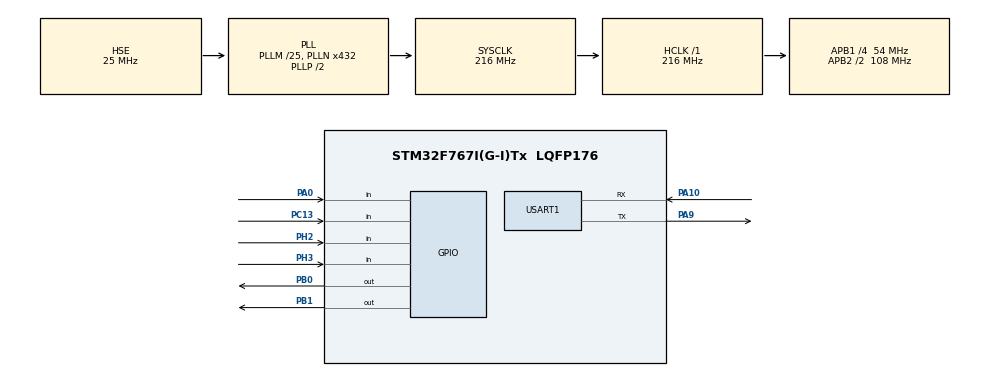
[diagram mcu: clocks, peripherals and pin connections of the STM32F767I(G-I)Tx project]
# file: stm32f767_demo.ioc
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CORTEX_M7.ART_ACCLERATOR_ENABLE=1
CORTEX_M7.CPU_DCache=Enabled
CORTEX_M7.CPU_ICache=Enabled
CORTEX_M7.PREFETCH_ENABLE=1
Mcu.Family=STM32F7
Mcu.Name=STM32F767I(G-I)Tx
Mcu.Package=LQFP176
NVIC.PriorityGroup=NVIC_PRIORITYGROUP_2
NVIC.USART1_IRQn=true\:3\:3\:true\:false\:true\:true
PA0/WKUP.GPIO_PuPd=GPIO_PULLDOWN
PA0/WKUP.Signal=GPIO_Input
PA10.GPIO_ModeDefaultPP=GPIO_MODE_AF_PP
PA10.GPIO_PuPd=GPIO_PULLUP
PA10.GPIO_Speed=GPIO_SPEED_FREQ_HIGH
PA10.Mode=Asynchronous
PA10.Signal=USART1_RX
PA9.GPIO_ModeDefaultPP=GPIO_MODE_AF_PP
PA9.GPIO_PuPd=GPIO_PULLUP
PA9.GPIO_Speed=GPIO_SPEED_FREQ_HIGH
PA9.Mode=Asynchronous
PA9.Signal=USART1_TX
PB0.GPIO_PuPd=GPIO_PULLUP
PB0.Signal=GPIO_Output
PB1.GPIO_PuPd=GPIO_PULLUP
PB1.GPIO_Speed=GPIO_SPEED_FREQ_LOW
PB1.Signal=GPIO_Output
PC13.GPIO_PuPd=GPIO_PULLUP
PC13.Signal=GPIO_Input
PH0/OSC_IN.Mode=HSE-External-Oscillator
PH0/OSC_IN.Signal=RCC_OSC_IN
PH1/OSC_OUT.Mode=HSE-External-Oscillator
PH1/OSC_OUT.Signal=RCC_OSC_OUT
PH2.GPIO_PuPd=GPIO_PULLUP
PH2.Signal=GPIO_Input
PH3.GPIO_PuPd=GPIO_PULLUP
PH3.Signal=GPIO_Input
ProjectManager.HeapSize=0x200
ProjectManager.StackSize=0x400
ProjectManager.TargetToolchain=Makefile
RCC.AHBFreq_Value=216000000
RCC.APB1CLKDivider=RCC_HCLK_DIV4
RCC.APB1Freq_Value=54000000
RCC.APB1TimFreq_Value=108000000
RCC.APB2CLKDivider=RCC_HCLK_DIV2
RCC.APB2Freq_Value=108000000
RCC.APB2TimFreq_Value=216000000
RCC.CortexFreq_Value=216000000
RCC.HCLKFreq_Value=216000000
RCC.HSE_VALUE=25000000
RCC.HSI_VALUE=16000000
RCC.LSE_VALUE=32768
RCC.PLLM=25
RCC.PLLN=432
RCC.PLLSourceVirtual=RCC_PLLSOURCE_HSE
RCC.SYSCLKFreq_VALUE=216000000
RCC.SYSCLKSource=RCC_SYSCLKSOURCE_PLLCLK
RCC.USBFreq_Value=216000000
RCC.VCOOutputFreq_Value=432000000
USART1.VirtualMode-Asynchronous=VM_ASYNC
USART1.WordLength=WORDLENGTH_8B
board=stm32f767_demo

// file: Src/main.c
/**
  ******************************************************************************
  * @file           : main.c
  * @brief          : Main program body
  ******************************************************************************
  ** This notice applies to any and all portions of this file
  * that are not between comment pairs USER CODE BEGIN and
  * USER CODE END. Other portions of this file, whether
  * inserted by the user or by software development tools
  * are owned by their respective copyright owners.
  *
  * COPYRIGHT(c) 2018 STMicroelectronics
  *
  * Redistribution and use in source and binary forms, with or without modification,
  * are permitted provided that the following conditions are met:
  *   1. Redistributions of source code must retain the above copyright notice,
  *      this list of conditions and the following disclaimer.
  *   2. Redistributions in binary form must reproduce the above copyright notice,
  *      this list of conditions and the following disclaimer in the documentation
  *      and/or other materials provided with the distribution.
  *   3. Neither the name of STMicroelectronics nor the names of its contributors
  *      may be used to endorse or promote products derived from this software
  *      without specific prior written permission.
  *
  * THIS SOFTWARE IS PROVIDED BY THE COPYRIGHT HOLDERS AND CONTRIBUTORS "AS IS"
  * AND ANY EXPRESS OR IMPLIED WARRANTIES, INCLUDING, BUT NOT LIMITED TO, THE
  * IMPLIED WARRANTIES OF MERCHANTABILITY AND FITNESS FOR A PARTICULAR PURPOSE ARE
  * DISCLAIMED. IN NO EVENT SHALL THE COPYRIGHT HOLDER OR CONTRIBUTORS BE LIABLE
  * FOR ANY DIRECT, INDIRECT, INCIDENTAL, SPECIAL, EXEMPLARY, OR CONSEQUENTIAL
  * DAMAGES (INCLUDING, BUT NOT LIMITED TO, PROCUREMENT OF SUBSTITUTE GOODS OR
  * SERVICES; LOSS OF USE, DATA, OR PROFITS; OR BUSINESS INTERRUPTION) HOWEVER
  * CAUSED AND ON ANY THEORY OF LIABILITY, WHETHER IN CONTRACT, STRICT LIABILITY,
  * OR TORT (INCLUDING NEGLIGENCE OR OTHERWISE) ARISING IN ANY WAY OUT OF THE USE
  * OF THIS SOFTWARE, EVEN IF ADVISED OF THE POSSIBILITY OF SUCH DAMAGE.
  *
  ******************************************************************************
  */
#include "main.h"
#include "stm32f7xx_hal.h"

/* USER CODE BEGIN Includes */
#include <led.h>
#include <key.h>
#include <uart.h>

/* USER CODE END Includes */

UART_HandleTypeDef huart1;

/* USER CODE BEGIN PV */
/* Private variables ---------------------------------------------------------*/

//接收缓存初始化
#define MAX_RECV_LEN 1024
uint8_t msg_buff[MAX_RECV_LEN] = {0};
uint8_t *msg = msg_buff;
static int flag = 0;

/* USER CODE END PV */

void SystemClock_Config(void);
static void MX_GPIO_Init(void);
static void MX_USART1_UART_Init(void);

/* USER CODE BEGIN PFP */
/* Private function prototypes -----------------------------------------------*/

//重定义fputc函数到串口
int fputc(int ch, FILE *f)
{
    while ((USART1->ISR & 0X40) == 0)
        ; //循环发送,直到发送完毕
    USART1->TDR = (uint8_t)ch;
    return ch;
}

// 接收中断回调函数
void HAL_UART_RxCpltCallback(UART_HandleTypeDef *UartHandle)
{
    uint8_t ret = HAL_OK;
    msg++;
    if (msg == msg_buff + MAX_RECV_LEN)
    {
        msg = msg_buff;
    }
    do
    {
        ret = HAL_UART_Receive_IT(UartHandle, (uint8_t *)msg, 1);
    } while (ret != HAL_OK);

    if (*(msg - 1) == '\n') //接收以\n为结尾字符，则表示接收完成
    {
        flag = 0;
    }
}

/* USER CODE END PFP */

int main(void)
{

    /* Enable I-Cache-------------------------------------------------------------*/
    SCB_EnableICache();

    /* Enable D-Cache-------------------------------------------------------------*/
    SCB_EnableDCache();

    /* MCU Configuration----------------------------------------------------------*/

    /* Reset of all peripherals, Initializes the Flash interface and the Systick. */
    HAL_Init();

    /* Configure the system clock */
    SystemClock_Config();

    /* Initialize all configured peripherals */
    MX_GPIO_Init();
    MX_USART1_UART_Init();
    /* USER CODE BEGIN 2 */
    HAL_UART_Receive_IT(&huart1, (uint8_t *)msg, 1); //开启第一次中断

    /* USER CODE END 2 */

    /* Infinite loop */
    /* USER CODE BEGIN WHILE */
    uint8_t led0Status = 1, led1Status = 1;
    KeyStatus keyStatus;
    while (1)
    {
        keyStatus = KEY_scan();

        if (keyStatus != NO_KEY_PRESS)
        {
            switch (keyStatus)
            {
            case KEY0_PRESS:
                led0Status = !led0Status;
                break;
            case KEY1_PRESS:
                led1Status = !led1Status;
                break;
            case KEY2_PRESS:
                led0Status = !led0Status;
                led1Status = !led1Status;
                break;
            case WK_UP_PRESS: // 互斥点亮
                led0Status = !led0Status;
                led1Status = !led0Status;
                break;
            case NO_KEY_PRESS:
                break;
            }
            LED0(led0Status);
            LED1(led1Status);
        }

        /* HAL_Delay(100);

        uint8_t TxData[10] = "01234abcde";
        // HAL_UART_Transmit(&huart1, TxData, 10, 0xffff); //把TxData的内容通过uart1发送出去，长度是10，timeout的时间是最大值0xffff
        printf("%s\n", "abcdef");

        while (__HAL_UART_GET_FLAG(&huart1, UART_FLAG_TC) != SET)
            ; //等待发送结束 */

        if (flag == 1)
        {
            printf("msg_buff = %s\r\n", msg_buff);
            memset((void *)msg_buff, 0, sizeof(msg_buff)); //清空缓存区
            // 指向接收缓存的头部
            msg = msg_buff;
            (&huart1)->pRxBuffPtr = msg;
            flag = 0;
        }
        HAL_Delay(10);

        /* USER CODE END WHILE */

    }
}

void SystemClock_Config(void)
{

    RCC_OscInitTypeDef RCC_OscInitStruct;
    RCC_ClkInitTypeDef RCC_ClkInitStruct;
    RCC_PeriphCLKInitTypeDef PeriphClkInitStruct;

    /**Configure the main internal regulator output voltage
    */
    __HAL_RCC_PWR_CLK_ENABLE();

    __HAL_PWR_VOLTAGESCALING_CONFIG(PWR_REGULATOR_VOLTAGE_SCALE1);

    /**Initializes the CPU, AHB and APB busses clocks
    */
    RCC_OscInitStruct.OscillatorType = RCC_OSCILLATORTYPE_HSE;
    RCC_OscInitStruct.HSEState = RCC_HSE_ON;
    RCC_OscInitStruct.PLL.PLLState = RCC_PLL_ON;
    RCC_OscInitStruct.PLL.PLLSource = RCC_PLLSOURCE_HSE;
    RCC_OscInitStruct.PLL.PLLM = 25;
    RCC_OscInitStruct.PLL.PLLN = 432;
    RCC_OscInitStruct.PLL.PLLP = RCC_PLLP_DIV2;
    RCC_OscInitStruct.PLL.PLLQ = 2;
    if (HAL_RCC_OscConfig(&RCC_OscInitStruct) != HAL_OK)
    {
        _Error_Handler(__FILE__, __LINE__);
    }

    /**Activate the Over-Drive mode
    */
    if (HAL_PWREx_EnableOverDrive() != HAL_OK)
    {
        _Error_Handler(__FILE__, __LINE__);
    }

    /**Initializes the CPU, AHB and APB busses clocks
    */
    RCC_ClkInitStruct.ClockType = RCC_CLOCKTYPE_HCLK | RCC_CLOCKTYPE_SYSCLK | RCC_CLOCKTYPE_PCLK1 | RCC_CLOCKTYPE_PCLK2;
    RCC_ClkInitStruct.SYSCLKSource = RCC_SYSCLKSOURCE_PLLCLK;
    RCC_ClkInitStruct.AHBCLKDivider = RCC_SYSCLK_DIV1;
    RCC_ClkInitStruct.APB1CLKDivider = RCC_HCLK_DIV4;
    RCC_ClkInitStruct.APB2CLKDivider = RCC_HCLK_DIV2;

    if (HAL_RCC_ClockConfig(&RCC_ClkInitStruct, FLASH_LATENCY_7) != HAL_OK)
    {
        _Error_Handler(__FILE__, __LINE__);
    }

    PeriphClkInitStruct.PeriphClockSelection = RCC_PERIPHCLK_USART1;
    PeriphClkInitStruct.Usart1ClockSelection = RCC_USART1CLKSOURCE_PCLK2;
    if (HAL_RCCEx_PeriphCLKConfig(&PeriphClkInitStruct) != HAL_OK)
    {
        _Error_Handler(__FILE__, __LINE__);
    }

    /**Configure the Systick interrupt time
    */
    HAL_SYSTICK_Config(HAL_RCC_GetHCLKFreq() / 1000);

    /**Configure the Systick
    */
    HAL_SYSTICK_CLKSourceConfig(SYSTICK_CLKSOURCE_HCLK);

    /* SysTick_IRQn interrupt configuration */
    HAL_NVIC_SetPriority(SysTick_IRQn, 0, 0);
}

/* USART1 init function */
static void MX_USART1_UART_Init(void)
{

    huart1.Instance = USART1;
    huart1.Init.BaudRate = 115200;
    huart1.Init.WordLength = UART_WORDLENGTH_8B;
    huart1.Init.StopBits = UART_STOPBITS_1;
    huart1.Init.Parity = UART_PARITY_NONE;
    huart1.Init.Mode = UART_MODE_TX_RX;
    huart1.Init.HwFlowCtl = UART_HWCONTROL_NONE;
    huart1.Init.OverSampling = UART_OVERSAMPLING_16;
    huart1.Init.OneBitSampling = UART_ONE_BIT_SAMPLE_DISABLE;
    huart1.AdvancedInit.AdvFeatureInit = UART_ADVFEATURE_NO_INIT;
    if (HAL_UART_Init(&huart1) != HAL_OK)
    {
        _Error_Handler(__FILE__, __LINE__);
    }
}

/** Configure pins as
        * Analog
        * Input
        * Output
        * EVENT_OUT
        * EXTI
*/
static void MX_GPIO_Init(void)
{

    GPIO_InitTypeDef GPIO_InitStruct;

    /* GPIO Ports Clock Enable */
    __HAL_RCC_GPIOC_CLK_ENABLE();
    __HAL_RCC_GPIOH_CLK_ENABLE();
    __HAL_RCC_GPIOA_CLK_ENABLE();
    __HAL_RCC_GPIOB_CLK_ENABLE();

    /*Configure GPIO pin Output Level */
    HAL_GPIO_WritePin(GPIOB, GPIO_PIN_0 | GPIO_PIN_1, GPIO_PIN_RESET);

    /*Configure GPIO pin : PC13 */
    GPIO_InitStruct.Pin = GPIO_PIN_13;
    GPIO_InitStruct.Mode = GPIO_MODE_INPUT;
    GPIO_InitStruct.Pull = GPIO_PULLUP;
    HAL_GPIO_Init(GPIOC, &GPIO_InitStruct);

    /*Configure GPIO pin : PA0 */
    GPIO_InitStruct.Pin = GPIO_PIN_0;
    GPIO_InitStruct.Mode = GPIO_MODE_INPUT;
    GPIO_InitStruct.Pull = GPIO_PULLDOWN;
    HAL_GPIO_Init(GPIOA, &GPIO_InitStruct);

    /*Configure GPIO pins : PH2 PH3 */
    GPIO_InitStruct.Pin = GPIO_PIN_2 | GPIO_PIN_3;
    GPIO_InitStruct.Mode = GPIO_MODE_INPUT;
    GPIO_InitStruct.Pull = GPIO_PULLUP;
    HAL_GPIO_Init(GPIOH, &GPIO_InitStruct);

    /*Configure GPIO pins : PB0 PB1 */
    GPIO_InitStruct.Pin = GPIO_PIN_0 | GPIO_PIN_1;
    GPIO_InitStruct.Mode = GPIO_MODE_OUTPUT_PP;
    GPIO_InitStruct.Pull = GPIO_PULLUP;
    GPIO_InitStruct.Speed = GPIO_SPEED_FREQ_LOW;
    HAL_GPIO_Init(GPIOB, &GPIO_InitStruct);
}

void _Error_Handler(char *file, int line)
{
    while (1)
    {
    }
}

/************************ (C) COPYRIGHT STMicroelectronics *****END OF FILE****/
